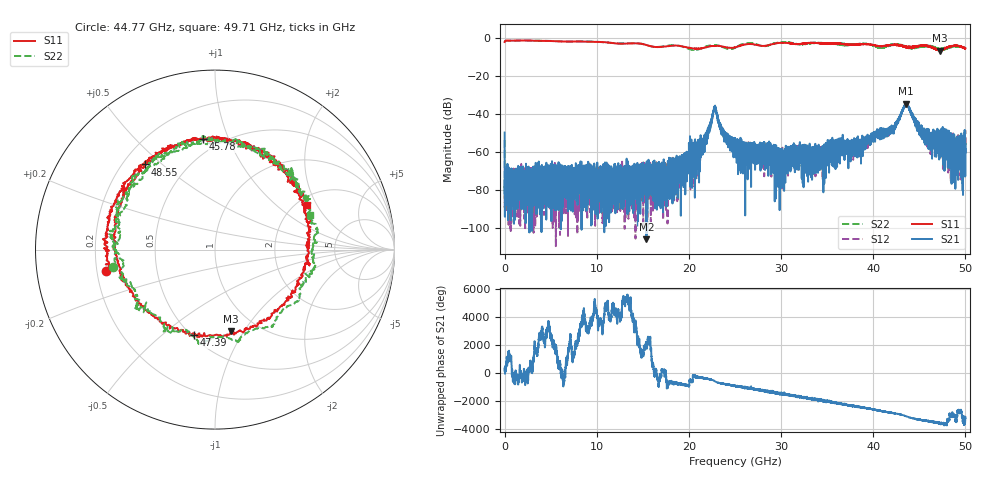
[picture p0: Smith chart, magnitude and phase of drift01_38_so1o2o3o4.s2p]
!Created with skrf (http://scikit-rf.org).
# Hz S RI R 50.0
!freq ReS11 ImS11 ReS21 ImS21 ReS12 ImS12 ReS22 ImS22
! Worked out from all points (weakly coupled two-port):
!   10001 points, 300 kHz to 50 GHz, reference 50 ohm
!   highest |S21| = -34.57 dB at 43.57 GHz (marker M1); lowest = -105.9 dB at 15.39 GHz (marker M2)
!   lowest |S11| = -6.7 dB at 47.22 GHz (marker M3), VSWR 2.73, Z = 37.6 - j43.7 ohm
!   |S11| at or under -10 dB: nowhere
!   |S22| runs from -6.5 to -1.4 dB; largest |S21 - S12| = 0.004
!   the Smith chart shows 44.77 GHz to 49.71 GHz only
!   S11 on the Smith chart (normalised r, x): 44.77 GHz: 0.24, -0.09; 45.78 GHz: 0.41, +0.81; 47.39 GHz: 0.52, -0.65; 48.55 GHz: 0.29, +0.44; 49.71 GHz: 2.27, +1.67
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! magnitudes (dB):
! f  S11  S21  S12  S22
! 300 kHz  -2.1  -49.8  -53.8  -2.1
! 265.3 MHz  -1.4  -83.1  -70.5  -1.4
! 8.335 GHz  -1.9  -65.2  -75.9  -1.8
! 15.39 GHz  -3.8  -105.9  -71.4  -3.8
! 16.67 GHz  -4.8  -69.5  -75.6  -4.8
! 20.61 GHz  -5.6  -57.3  -61.4  -6.3
! 21.67 GHz  -5.2  -54.3  -52.0  -5.0
! 22.79 GHz  -4.3  -36.3  -36.3  -4.0
! 23.86 GHz  -4.8  -52.0  -51.2  -5.2
! 25 GHz  -5.0  -56.4  -55.4  -5.1
! 29.92 GHz  -2.6  -58.8  -63.9  -2.4
! 31.36 GHz  -3.1  -60.0  -63.0  -2.9
! 33.34 GHz  -2.6  -58.5  -61.0  -2.7
! 41.67 GHz  -3.9  -48.7  -48.8  -4.2
! 43.57 GHz  -4.9  -34.6  -35.2  -4.6
! 44.77 GHz  -4.2  -44.0  -46.9  -4.8
! 45.78 GHz  -4.2  -51.0  -52.7  -4.2
! 47.22 GHz  -6.7  -51.3  -53.9  -5.9
! 47.39 GHz  -6.2  -53.7  -57.7  -5.7
! 48.55 GHz  -4.2  -51.0  -76.4  -4.6
! 49.71 GHz  -4.9  -54.1  -59.1  -5.0
! 50 GHz  -5.5  -72.4  -60.7  -5.4
